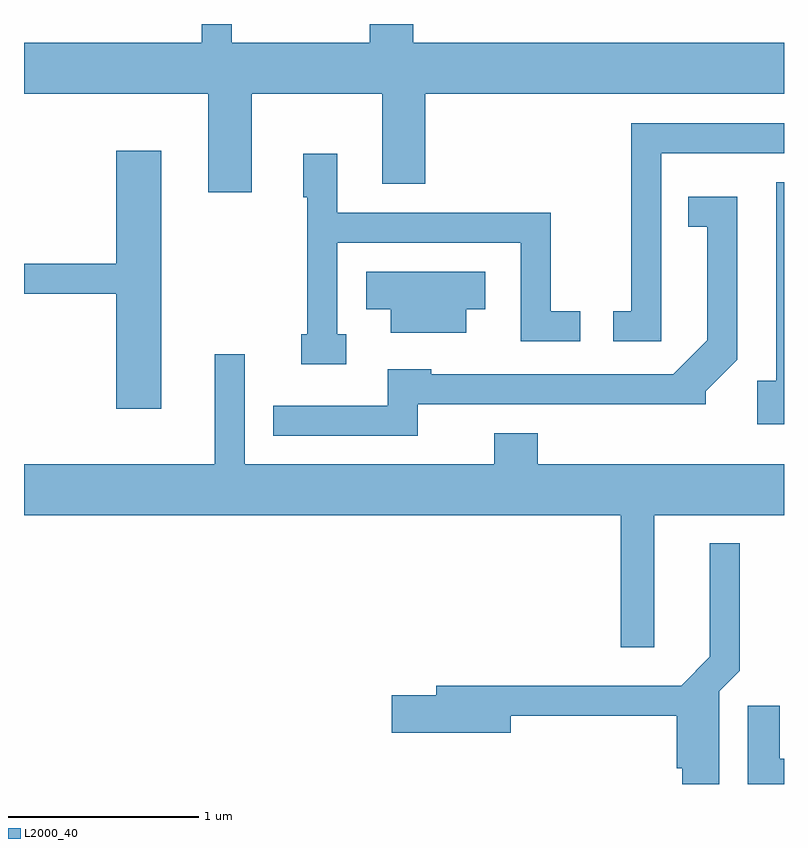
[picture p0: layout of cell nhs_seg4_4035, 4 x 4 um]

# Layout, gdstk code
import gdstk
lib = gdstk.Library(unit=1e-6, precision=1e-09)
def P(c, l, *ps):  # polygons
    for p in ps: c.add(gdstk.Polygon(p, *l))
L2000_40 = (2000, 40)

nhs_seg4_4035 = lib.new_cell('nhs_seg4_4035')
P(nhs_seg4_4035, L2000_40, [(304.809,1303.616),(305.496,1303.616),(305.496,1303.141),(305.724,1303.141),(305.724,1303.616),(307.611,1303.616),(307.611,1303.884),(305.659,1303.884),(305.659,1303.982),(305.431,1303.982),(305.431,1303.884),(304.704,1303.884),(304.704,1303.982),(304.546,1303.982),(304.546,1303.884),(303.611,1303.884),(303.611,1303.616),(304.581,1303.616),(304.581,1303.096),(304.809,1303.096)],
  [(306.964,1303.301),(307.611,1303.301),(307.611,1303.459),(306.806,1303.459),(306.806,1302.469),(306.713,1302.469),(306.713,1302.311),(306.964,1302.311)],
  [(304.334,1303.314),(304.096,1303.314),(304.096,1302.719),(303.611,1302.719),(303.611,1302.561),(304.096,1302.561),(304.096,1301.956),(304.334,1301.956)],
  [(305.308,1302.349),(305.259,1302.349),(305.259,1302.831),(306.226,1302.831),(306.226,1302.311),(306.538,1302.311),(306.538,1302.469),(306.384,1302.469),(306.384,1302.989),(305.259,1302.989),(305.259,1303.299),(305.081,1303.299),(305.081,1303.071),(305.101,1303.071),(305.101,1302.349),(305.071,1302.349),(305.071,1302.191),(305.308,1302.191)],
  [(307.611,1303.149),(307.571,1303.149),(307.571,1302.104),(307.471,1302.104),(307.471,1301.876),(307.611,1301.876)],
  [(305.684,1301.981),(307.199,1301.981),(307.199,1302.049),(307.364,1302.214),(307.364,1303.074),(307.108,1303.074),(307.108,1302.916),(307.206,1302.916),(307.206,1302.317),(307.029,1302.139),(305.754,1302.139),(305.754,1302.164),(305.526,1302.164),(305.526,1301.974),(304.923,1301.974),(304.923,1301.816),(305.684,1301.816)],
  [(305.939,1302.481),(306.039,1302.481),(306.039,1302.679),(305.411,1302.679),(305.411,1302.481),(305.541,1302.481),(305.541,1302.356),(305.939,1302.356)],
  [(306.929,1301.396),(307.611,1301.396),(307.611,1301.664),(306.314,1301.664),(306.314,1301.829),(306.086,1301.829),(306.086,1301.664),(304.774,1301.664),(304.774,1302.243),(304.616,1302.243),(304.616,1301.664),(303.611,1301.664),(303.611,1301.396),(306.751,1301.396),(306.751,1300.701),(306.929,1300.701)],
  [(307.269,1300.469),(307.379,1300.579),(307.379,1301.248),(307.221,1301.248),(307.221,1300.652),(307.069,1300.499),(305.781,1300.499),(305.781,1300.449),(305.546,1300.449),(305.546,1300.251),(306.174,1300.251),(306.174,1300.341),(307.046,1300.341),(307.046,1300.066),(307.076,1300.066),(307.076,1299.982),(307.269,1299.982)],
  [(307.611,1300.114),(307.589,1300.114),(307.589,1300.393),(307.421,1300.393),(307.421,1299.982),(307.611,1299.982)])

lib.write_gds('nhs_seg4_4035.gds')
